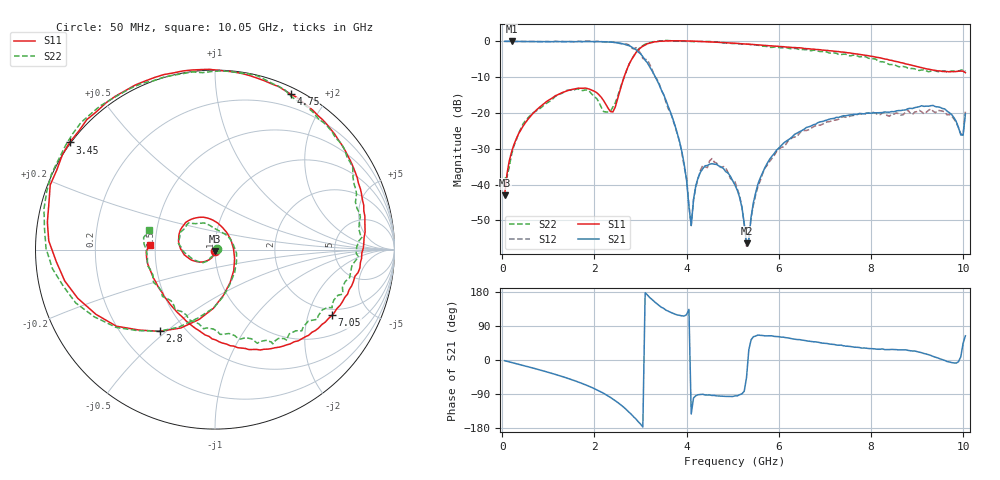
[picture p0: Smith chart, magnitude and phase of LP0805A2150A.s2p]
! AVX THIN FILM OPERATION
! 0805 Size Low Pass Filter P/N  LP0805A0837AWTR
! Network Analyzer HP8720ES.07.64: Feb 23, 2000 Serial No. US39172382
! Hewlett-Packard
! 2 Feb 2003  04:34:11
! Frequency  S11  S21  S12  S22
# HZ  S  DB R  50
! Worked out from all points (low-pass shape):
!   201 points, 50 MHz to 10.05 GHz, reference 50 ohm
!   highest |S21| = 0.01 dB at 200 MHz (marker M1); lowest = -56.4 dB at 5.3 GHz (marker M2)
!   |S21| within 3 dB of the highest: start of sweep to 2.952 GHz
!   lowest |S11| = -43.0 dB at 50 MHz (marker M3), VSWR 1.01, Z = 50.1 - j0.699 ohm
!   |S11| at or under -10 dB: start of sweep to 2.643 GHz
!   |S22| runs from -38.3 to 0.2 dB; largest |S21 - S12| = 0.058
!   S11 on the Smith chart (normalised r, x): 50 MHz: 1.00, -0.01; 2.8 GHz: 0.36, -0.48; 3.45 GHz: -0.00, +0.33; 4.75 GHz: 0.07, +1.60; 7.05 GHz: 1.73, -2.86; 10.05 GHz: 0.47, +0.03
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5e7  -42.99 -79.8  -0.01 -1.9  0.02 -1.8  -38.27 16.1
2e8  -30.95 -101.0  0.01 -6.5  -0.04 -6.4  -31.68 -105.1
6.5e8  -20.34 -134.5  -0.06 -20.8  -0.03 -20.7  -20.16 -132.5
1.75e9  -13.12 142.3  -0.09 -62.8  -0.18 -63.1  -13.76 144.0
2.4e9  -19.71 3.2  -0.26 -103.1  -0.24 -103.3  -18.32 -9.4
2.8e9  -5.21 -124.0  -1.51 -143.5  -1.87 -145.6  -5.16 -124.5
3.1e9  -1.04 -175.7  -5.26 177.5  -5.01 -178.3  -0.80 -173.3
3.4e9  0.02 147.9  -11.97 144.1  -11.61 140.2  0.05 150.2
3.45e9  0.05 143.6  -13.55 139.3  -13.64 137.0  0.13 145.1
3.9e9  0.14 109.3  -30.98 116.4  -31.43 112.1  0.02 110.4
4.1e9  0.08 97.5  -51.46 -142.4  -51.43 -141.6  -0.02 97.2
4.35e9  -0.04 83.8  -35.61 -90.4  -34.68 -94.6  -0.05 82.9
4.75e9  -0.32 64.1  -35.09 -95.5  -35.24 -93.4  -0.40 64.0
5.05e9  -0.54 50.4  -40.16 -94.8  -39.24 -97.6  -0.62 49.2
5.3e9  -0.76 39.5  -56.36 -46.3  -57.22 -53.2  -0.77 38.7
5.7e9  -1.13 22.6  -35.26 63.8  -35.37 61.1  -1.39 22.9
6.75e9  -2.17 -18.6  -23.30 48.2  -23.87 47.8  -2.49 -18.4
7.05e9  -2.53 -29.4  -21.98 43.5  -22.50 42.0  -3.03 -27.2
8.4e9  -5.23 -79.1  -19.80 27.5  -20.94 23.5  -6.49 -80.5
9.5e9  -8.26 -137.2  -18.44 3.0  -19.39 4.6  -8.44 -148.3
1e10  -8.33 -178.2  -26.18 43.8  -26.08 45.8  -7.88 170.4
1.005e10  -8.75 175.6  -20.28 63.8  -19.66 65.9  -8.38 163.7
